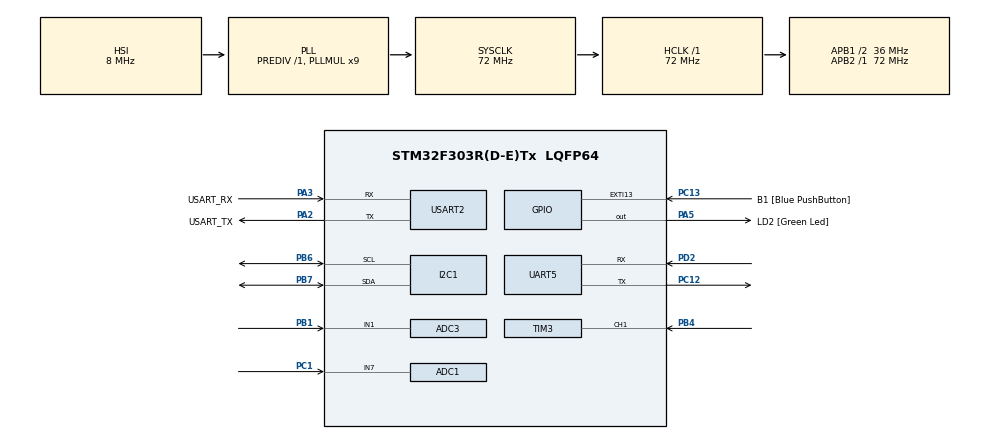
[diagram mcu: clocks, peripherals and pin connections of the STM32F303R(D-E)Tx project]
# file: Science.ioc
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ADC1.Channel-0\#ChannelRegularConversion=ADC_CHANNEL_7
ADC1.ContinuousConvMode=DISABLE
ADC1.DMAContinuousRequests=DISABLE
ADC1.NbrOfConversion=1
ADC1.NbrOfConversionFlag=1
ADC1.Offset-0\#ChannelRegularConversion=0
ADC1.OffsetNumber-0\#ChannelRegularConversion=ADC_OFFSET_NONE
ADC1.Rank-0\#ChannelRegularConversion=1
ADC1.SamplingTime-0\#ChannelRegularConversion=ADC_SAMPLETIME_1CYCLE_5
ADC1.SamplingTimeOPAMP-0\#ChannelRegularConversion=ADC_SAMPLETIME_61CYCLES_5
ADC1.master=1
ADC3.Channel-0\#ChannelRegularConversion=ADC_CHANNEL_1
ADC3.ContinuousConvMode=DISABLE
ADC3.NbrOfConversionFlag=1
ADC3.Offset-0\#ChannelRegularConversion=0
ADC3.OffsetNumber-0\#ChannelRegularConversion=ADC_OFFSET_NONE
ADC3.Rank-0\#ChannelRegularConversion=1
ADC3.SamplingTime-0\#ChannelRegularConversion=ADC_SAMPLETIME_1CYCLE_5
ADC3.SamplingTimeOPAMP-0\#ChannelRegularConversion=ADC_SAMPLETIME_61CYCLES_5
ADC3.master=1
I2C1.Timing=0x00201D2B
Mcu.Family=STM32F3
Mcu.Name=STM32F303R(D-E)Tx
Mcu.Package=LQFP64
NVIC.PriorityGroup=NVIC_PRIORITYGROUP_0
NVIC.TIM3_IRQn=true\:0\:0\:false\:false\:true\:true\:true\:true
PA13.GPIO_Label=TMS
PA13.Mode=Serial_Wire
PA13.Signal=SYS_JTMS-SWDIO
PA14.GPIO_Label=TCK
PA14.Mode=Serial_Wire
PA14.Signal=SYS_JTCK-SWCLK
PA2.GPIO_Label=USART_TX
PA2.GPIO_Mode=GPIO_MODE_AF_PP
PA2.GPIO_PuPd=GPIO_NOPULL
PA2.GPIO_Speed=GPIO_SPEED_FREQ_LOW
PA2.Mode=Asynchronous
PA2.Signal=USART2_TX
PA3.GPIO_Label=USART_RX
PA3.GPIO_Mode=GPIO_MODE_AF_PP
PA3.GPIO_PuPd=GPIO_NOPULL
PA3.GPIO_Speed=GPIO_SPEED_FREQ_LOW
PA3.Mode=Asynchronous
PA3.Signal=USART2_RX
PA5.GPIO_Label=LD2 [Green Led]
PA5.GPIO_Mode=GPIO_MODE_OUTPUT_PP
PA5.GPIO_PuPd=GPIO_NOPULL
PA5.GPIO_Speed=GPIO_SPEED_FREQ_LOW
PA5.Signal=GPIO_Output
PB1.Mode=IN1-Single-Ended
PB1.Signal=ADC3_IN1
PB3.GPIO_Label=SWO
PB3.Signal=SYS_JTDO-TRACESWO
PB4.Signal=S_TIM3_CH1
PB6.Mode=I2C
PB6.Signal=I2C1_SCL
PB7.Mode=I2C
PB7.Signal=I2C1_SDA
PC1.Signal=ADCx_IN7
PC12.Mode=Asynchronous
PC12.Signal=UART5_TX
PC13.GPIO_Label=B1 [Blue PushButton]
PC13.GPIO_ModeDefaultEXTI=GPIO_MODE_IT_FALLING
PC13.Signal=GPXTI13
PC14-OSC32_IN.Mode=LSE-External-Oscillator
PC14-OSC32_IN.Signal=RCC_OSC32_IN
PC15-OSC32_OUT.Mode=LSE-External-Oscillator
PC15-OSC32_OUT.Signal=RCC_OSC32_OUT
PD2.Mode=Asynchronous
PD2.Signal=UART5_RX
PF0-OSC_IN.Mode=HSE-External-Clock-Source
PF0-OSC_IN.Signal=RCC_OSC_IN
PF1-OSC_OUT.Signal=RCC_OSC_OUT
ProjectManager.HeapSize=0x200
ProjectManager.StackSize=0x400
ProjectManager.TargetToolchain=STM32CubeIDE
RCC.AHBFreq_Value=72000000
RCC.APB1CLKDivider=RCC_HCLK_DIV2
RCC.APB1Freq_Value=36000000
RCC.APB1TimFreq_Value=72000000
RCC.APB2Freq_Value=72000000
RCC.APB2TimFreq_Value=72000000
RCC.CortexFreq_Value=72000000
RCC.HCLKFreq_Value=72000000
RCC.HSE_VALUE=8000000
RCC.HSI_VALUE=8000000
RCC.PLLM=8
RCC.PLLMUL=RCC_PLL_MUL9
RCC.PLLN=336
RCC.PLLP=RCC_PLLP_DIV4
RCC.PLLQ=7
RCC.RCC_PLLsource_Clock_Source_FROM_HSE=RCC_HSE_PREDIV_DIV2
RCC.SYSCLKFreq_VALUE=72000000
RCC.SYSCLKSourceVirtual=RCC_SYSCLKSOURCE_PLLCLK
RCC.USBFreq_Value=72000000
SH.ADCx_IN7.0=ADC1_IN7,IN7-Single-Ended
SH.S_TIM3_CH1.0=TIM3_CH1,PWM_Input_1
TIM2.Prescaler=72-1
TIM3.Prescaler=1440-1
USART2.VirtualMode-Asynchronous=VM_ASYNC
VP_TIM2_VS_ClockSourceINT.Mode=Internal
VP_TIM3_VS_ClockSourceINT.Mode=Internal
board=NUCLEO-F303RE

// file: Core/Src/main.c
/* USER CODE BEGIN Header */
/**
  ******************************************************************************
  * @file           : main.c
  * @brief          : Main program body
  ******************************************************************************
  * @attention
  *
  * Copyright (c) 2025 STMicroelectronics.
  * All rights reserved.
  *
  * This software is licensed under terms that can be found in the LICENSE file
  * in the root directory of this software component.
  * If no LICENSE file comes with this software, it is provided AS-IS.
  *
  ******************************************************************************
  */
/* USER CODE END Header */
#include "main.h"

/* USER CODE BEGIN Includes */
#include <stdio.h>
#include <string.h>

#include "MQ135.h"			//NH3
#include "MQ4.h"			//CH4
#include "MICS-4514.h"		//NO2
#include "DTH11.h"			//Temp&Humidity
#include "BMP_180.h"		//Pressure
/* USER CODE END Includes */

/* USER CODE BEGIN PD */
#define TICK_MS		0.02	//TIM3: Duration of one tick in miliseconds. (50kHz)
/* USER CODE END PD */

ADC_HandleTypeDef hadc1;
ADC_HandleTypeDef hadc3;

I2C_HandleTypeDef hi2c1;

TIM_HandleTypeDef htim2;
TIM_HandleTypeDef htim3;

UART_HandleTypeDef huart5;
UART_HandleTypeDef huart2;

/* USER CODE BEGIN PV */
float NH3, NO2, CO2, CH4;

uint16_t period_tick, high_tick;												//CO2
float high_ms, period_ms;														//CO2

uint8_t presence, RhByteInt, RhByteDec, TempByteInt, TempByteDec, SumCheck;  //DHT
float DHT_temp;

//BMP_180
long press;
float temp;
extern long UT;
extern long UP;

char data_buff [128];
/* USER CODE END PV */

void SystemClock_Config(void);
static void MX_GPIO_Init(void);
static void MX_USART2_UART_Init(void);
static void MX_TIM2_Init(void);
static void MX_ADC3_Init(void);
static void MX_I2C1_Init(void);
static void MX_TIM3_Init(void);
static void MX_ADC1_Init(void);
static void MX_UART5_Init(void);

/* USER CODE BEGIN 0 */

//MHZ-19 Callback Function
void HAL_TIM_IC_CaptureCallback(TIM_HandleTypeDef *htim){
	if(htim->Channel==HAL_TIM_ACTIVE_CHANNEL_1)
	{
		period_tick = HAL_TIM_ReadCapturedValue(htim, TIM_CHANNEL_1);
		high_tick = HAL_TIM_ReadCapturedValue(htim, TIM_CHANNEL_2);
	}
	high_ms = high_tick * TICK_MS;
	period_ms = period_tick * TICK_MS;
	CO2 = 2000 * (high_ms - 2) / (period_ms - 4) + 240 ;
}

/* USER CODE END 0 */

int main(void)
{

  /* MCU Configuration--------------------------------------------------------*/

  /* Reset of all peripherals, Initializes the Flash interface and the Systick. */
  HAL_Init();

  /* Configure the system clock */
  SystemClock_Config();

  /* Initialize all configured peripherals */
  MX_GPIO_Init();
  MX_USART2_UART_Init();
  MX_TIM2_Init();
  MX_ADC3_Init();
  MX_I2C1_Init();
  MX_TIM3_Init();
  MX_ADC1_Init();
  MX_UART5_Init();
  /* USER CODE BEGIN 2 */

  //PWM input in interrupt mode
  HAL_TIM_IC_Start_IT(&htim3, TIM_CHANNEL_1); // Rising edge
  HAL_TIM_IC_Start_IT(&htim3, TIM_CHANNEL_2); // Falling edge

  /* USER CODE END 2 */

  /* Infinite loop */
  while (1)
  {

    /* USER CODE BEGIN 3 */
	  DHT11_Start();
	  presence = DHT11_Check_Response();

	  if (presence) {
		  RhByteInt   = DHT11_Read_Byte();			//Nem: tam kısım
		  RhByteDec   = DHT11_Read_Byte();			//Nem: ondalıklı kısım (sıfır geliyo)
		  TempByteInt = DHT11_Read_Byte();			//Sıcaklık: tam kısım
		  TempByteDec = DHT11_Read_Byte();			//Sıcaklık: ondalıklı kısım
		  SumCheck    = DHT11_Read_Byte();			//Önemsiz
	  }
	  DHT_temp 	   = TempByteInt +  TempByteDec / 10.0f;

	  NH3 = Read_NH3();
	  CH4 = Read_CH4();
	  NO2 = Read_NO2();

	  UT = get_ut();
	  UP = get_up();
	  temp = get_temp();
	  press= get_press() * 10;

	  snprintf(data_buff, sizeof(data_buff), "%f %f %f %f %f %u %ld",
		CO2, NH3, CH4, NO2, DHT_temp, RhByteInt, press);

	  HAL_UART_Transmit(&huart5, (uint8_t*)data_buff, strlen(data_buff), HAL_MAX_DELAY);

	  HAL_Delay(1500);

  }
  /* USER CODE END 3 */
}

void SystemClock_Config(void)
{
  RCC_OscInitTypeDef RCC_OscInitStruct = {0};
  RCC_ClkInitTypeDef RCC_ClkInitStruct = {0};
  RCC_PeriphCLKInitTypeDef PeriphClkInit = {0};

  /** Initializes the RCC Oscillators according to the specified parameters
  * in the RCC_OscInitTypeDef structure.
  */
  RCC_OscInitStruct.OscillatorType = RCC_OSCILLATORTYPE_HSI;
  RCC_OscInitStruct.HSIState = RCC_HSI_ON;
  RCC_OscInitStruct.HSICalibrationValue = RCC_HSICALIBRATION_DEFAULT;
  RCC_OscInitStruct.PLL.PLLState = RCC_PLL_ON;
  RCC_OscInitStruct.PLL.PLLSource = RCC_PLLSOURCE_HSI;
  RCC_OscInitStruct.PLL.PLLMUL = RCC_PLL_MUL9;
  RCC_OscInitStruct.PLL.PREDIV = RCC_PREDIV_DIV1;
  if (HAL_RCC_OscConfig(&RCC_OscInitStruct) != HAL_OK)
  {
    Error_Handler();
  }

  /** Initializes the CPU, AHB and APB buses clocks
  */
  RCC_ClkInitStruct.ClockType = RCC_CLOCKTYPE_HCLK|RCC_CLOCKTYPE_SYSCLK
                              |RCC_CLOCKTYPE_PCLK1|RCC_CLOCKTYPE_PCLK2;
  RCC_ClkInitStruct.SYSCLKSource = RCC_SYSCLKSOURCE_PLLCLK;
  RCC_ClkInitStruct.AHBCLKDivider = RCC_SYSCLK_DIV1;
  RCC_ClkInitStruct.APB1CLKDivider = RCC_HCLK_DIV2;
  RCC_ClkInitStruct.APB2CLKDivider = RCC_HCLK_DIV1;

  if (HAL_RCC_ClockConfig(&RCC_ClkInitStruct, FLASH_LATENCY_2) != HAL_OK)
  {
    Error_Handler();
  }
  PeriphClkInit.PeriphClockSelection = RCC_PERIPHCLK_USART2|RCC_PERIPHCLK_UART5
                              |RCC_PERIPHCLK_I2C1|RCC_PERIPHCLK_ADC12
                              |RCC_PERIPHCLK_ADC34|RCC_PERIPHCLK_TIM2
                              |RCC_PERIPHCLK_TIM34;
  PeriphClkInit.Usart2ClockSelection = RCC_USART2CLKSOURCE_PCLK1;
  PeriphClkInit.Uart5ClockSelection = RCC_UART5CLKSOURCE_PCLK1;
  PeriphClkInit.Adc12ClockSelection = RCC_ADC12PLLCLK_DIV1;
  PeriphClkInit.Adc34ClockSelection = RCC_ADC34PLLCLK_DIV1;
  PeriphClkInit.I2c1ClockSelection = RCC_I2C1CLKSOURCE_HSI;
  PeriphClkInit.Tim2ClockSelection = RCC_TIM2CLK_HCLK;
  PeriphClkInit.Tim34ClockSelection = RCC_TIM34CLK_HCLK;
  if (HAL_RCCEx_PeriphCLKConfig(&PeriphClkInit) != HAL_OK)
  {
    Error_Handler();
  }
}

static void MX_ADC1_Init(void)
{

  ADC_MultiModeTypeDef multimode = {0};
  ADC_ChannelConfTypeDef sConfig = {0};

  /** Common config
  */
  hadc1.Instance = ADC1;
  hadc1.Init.ClockPrescaler = ADC_CLOCK_ASYNC_DIV1;
  hadc1.Init.Resolution = ADC_RESOLUTION_12B;
  hadc1.Init.ScanConvMode = ADC_SCAN_DISABLE;
  hadc1.Init.ContinuousConvMode = DISABLE;
  hadc1.Init.DiscontinuousConvMode = DISABLE;
  hadc1.Init.ExternalTrigConvEdge = ADC_EXTERNALTRIGCONVEDGE_NONE;
  hadc1.Init.ExternalTrigConv = ADC_SOFTWARE_START;
  hadc1.Init.DataAlign = ADC_DATAALIGN_RIGHT;
  hadc1.Init.NbrOfConversion = 1;
  hadc1.Init.DMAContinuousRequests = DISABLE;
  hadc1.Init.EOCSelection = ADC_EOC_SINGLE_CONV;
  hadc1.Init.LowPowerAutoWait = DISABLE;
  hadc1.Init.Overrun = ADC_OVR_DATA_OVERWRITTEN;
  if (HAL_ADC_Init(&hadc1) != HAL_OK)
  {
    Error_Handler();
  }

  /** Configure the ADC multi-mode
  */
  multimode.Mode = ADC_MODE_INDEPENDENT;
  if (HAL_ADCEx_MultiModeConfigChannel(&hadc1, &multimode) != HAL_OK)
  {
    Error_Handler();
  }

  /** Configure Regular Channel
  */
  sConfig.Channel = ADC_CHANNEL_7;
  sConfig.Rank = ADC_REGULAR_RANK_1;
  sConfig.SingleDiff = ADC_SINGLE_ENDED;
  sConfig.SamplingTime = ADC_SAMPLETIME_1CYCLE_5;
  sConfig.OffsetNumber = ADC_OFFSET_NONE;
  sConfig.Offset = 0;
  if (HAL_ADC_ConfigChannel(&hadc1, &sConfig) != HAL_OK)
  {
    Error_Handler();
  }

}

static void MX_ADC3_Init(void)
{

  ADC_MultiModeTypeDef multimode = {0};
  ADC_ChannelConfTypeDef sConfig = {0};

  /** Common config
  */
  hadc3.Instance = ADC3;
  hadc3.Init.ClockPrescaler = ADC_CLOCK_ASYNC_DIV1;
  hadc3.Init.Resolution = ADC_RESOLUTION_12B;
  hadc3.Init.ScanConvMode = ADC_SCAN_DISABLE;
  hadc3.Init.ContinuousConvMode = DISABLE;
  hadc3.Init.DiscontinuousConvMode = DISABLE;
  hadc3.Init.ExternalTrigConvEdge = ADC_EXTERNALTRIGCONVEDGE_NONE;
  hadc3.Init.ExternalTrigConv = ADC_SOFTWARE_START;
  hadc3.Init.DataAlign = ADC_DATAALIGN_RIGHT;
  hadc3.Init.NbrOfConversion = 1;
  hadc3.Init.DMAContinuousRequests = DISABLE;
  hadc3.Init.EOCSelection = ADC_EOC_SINGLE_CONV;
  hadc3.Init.LowPowerAutoWait = DISABLE;
  hadc3.Init.Overrun = ADC_OVR_DATA_OVERWRITTEN;
  if (HAL_ADC_Init(&hadc3) != HAL_OK)
  {
    Error_Handler();
  }

  /** Configure the ADC multi-mode
  */
  multimode.Mode = ADC_MODE_INDEPENDENT;
  if (HAL_ADCEx_MultiModeConfigChannel(&hadc3, &multimode) != HAL_OK)
  {
    Error_Handler();
  }

  /** Configure Regular Channel
  */
  sConfig.Channel = ADC_CHANNEL_1;
  sConfig.Rank = ADC_REGULAR_RANK_1;
  sConfig.SingleDiff = ADC_SINGLE_ENDED;
  sConfig.SamplingTime = ADC_SAMPLETIME_1CYCLE_5;
  sConfig.OffsetNumber = ADC_OFFSET_NONE;
  sConfig.Offset = 0;
  if (HAL_ADC_ConfigChannel(&hadc3, &sConfig) != HAL_OK)
  {
    Error_Handler();
  }

}

static void MX_I2C1_Init(void)
{

  hi2c1.Instance = I2C1;
  hi2c1.Init.Timing = 0x00201D2B;
  hi2c1.Init.OwnAddress1 = 0;
  hi2c1.Init.AddressingMode = I2C_ADDRESSINGMODE_7BIT;
  hi2c1.Init.DualAddressMode = I2C_DUALADDRESS_DISABLE;
  hi2c1.Init.OwnAddress2 = 0;
  hi2c1.Init.OwnAddress2Masks = I2C_OA2_NOMASK;
  hi2c1.Init.GeneralCallMode = I2C_GENERALCALL_DISABLE;
  hi2c1.Init.NoStretchMode = I2C_NOSTRETCH_DISABLE;
  if (HAL_I2C_Init(&hi2c1) != HAL_OK)
  {
    Error_Handler();
  }

  /** Configure Analogue filter
  */
  if (HAL_I2CEx_ConfigAnalogFilter(&hi2c1, I2C_ANALOGFILTER_ENABLE) != HAL_OK)
  {
    Error_Handler();
  }

  /** Configure Digital filter
  */
  if (HAL_I2CEx_ConfigDigitalFilter(&hi2c1, 0) != HAL_OK)
  {
    Error_Handler();
  }

}

static void MX_TIM2_Init(void)
{

  TIM_ClockConfigTypeDef sClockSourceConfig = {0};
  TIM_MasterConfigTypeDef sMasterConfig = {0};

  htim2.Instance = TIM2;
  htim2.Init.Prescaler = 72-1;
  htim2.Init.CounterMode = TIM_COUNTERMODE_UP;
  htim2.Init.Period = 4294967295;
  htim2.Init.ClockDivision = TIM_CLOCKDIVISION_DIV1;
  htim2.Init.AutoReloadPreload = TIM_AUTORELOAD_PRELOAD_DISABLE;
  if (HAL_TIM_Base_Init(&htim2) != HAL_OK)
  {
    Error_Handler();
  }
  sClockSourceConfig.ClockSource = TIM_CLOCKSOURCE_INTERNAL;
  if (HAL_TIM_ConfigClockSource(&htim2, &sClockSourceConfig) != HAL_OK)
  {
    Error_Handler();
  }
  sMasterConfig.MasterOutputTrigger = TIM_TRGO_RESET;
  sMasterConfig.MasterSlaveMode = TIM_MASTERSLAVEMODE_DISABLE;
  if (HAL_TIMEx_MasterConfigSynchronization(&htim2, &sMasterConfig) != HAL_OK)
  {
    Error_Handler();
  }

}

static void MX_TIM3_Init(void)
{

  TIM_ClockConfigTypeDef sClockSourceConfig = {0};
  TIM_SlaveConfigTypeDef sSlaveConfig = {0};
  TIM_IC_InitTypeDef sConfigIC = {0};
  TIM_MasterConfigTypeDef sMasterConfig = {0};

  htim3.Instance = TIM3;
  htim3.Init.Prescaler = 1440-1;
  htim3.Init.CounterMode = TIM_COUNTERMODE_UP;
  htim3.Init.Period = 65535;
  htim3.Init.ClockDivision = TIM_CLOCKDIVISION_DIV1;
  htim3.Init.AutoReloadPreload = TIM_AUTORELOAD_PRELOAD_DISABLE;
  if (HAL_TIM_Base_Init(&htim3) != HAL_OK)
  {
    Error_Handler();
  }
  sClockSourceConfig.ClockSource = TIM_CLOCKSOURCE_INTERNAL;
  if (HAL_TIM_ConfigClockSource(&htim3, &sClockSourceConfig) != HAL_OK)
  {
    Error_Handler();
  }
  if (HAL_TIM_IC_Init(&htim3) != HAL_OK)
  {
    Error_Handler();
  }
  sSlaveConfig.SlaveMode = TIM_SLAVEMODE_RESET;
  sSlaveConfig.InputTrigger = TIM_TS_TI1FP1;
  sSlaveConfig.TriggerPolarity = TIM_INPUTCHANNELPOLARITY_RISING;
  sSlaveConfig.TriggerPrescaler = TIM_ICPSC_DIV1;
  sSlaveConfig.TriggerFilter = 0;
  if (HAL_TIM_SlaveConfigSynchro(&htim3, &sSlaveConfig) != HAL_OK)
  {
    Error_Handler();
  }
  sConfigIC.ICPolarity = TIM_INPUTCHANNELPOLARITY_RISING;
  sConfigIC.ICSelection = TIM_ICSELECTION_DIRECTTI;
  sConfigIC.ICPrescaler = TIM_ICPSC_DIV1;
  sConfigIC.ICFilter = 0;
  if (HAL_TIM_IC_ConfigChannel(&htim3, &sConfigIC, TIM_CHANNEL_1) != HAL_OK)
  {
    Error_Handler();
  }
  sConfigIC.ICPolarity = TIM_INPUTCHANNELPOLARITY_FALLING;
  sConfigIC.ICSelection = TIM_ICSELECTION_INDIRECTTI;
  if (HAL_TIM_IC_ConfigChannel(&htim3, &sConfigIC, TIM_CHANNEL_2) != HAL_OK)
  {
    Error_Handler();
  }
  sMasterConfig.MasterOutputTrigger = TIM_TRGO_RESET;
  sMasterConfig.MasterSlaveMode = TIM_MASTERSLAVEMODE_DISABLE;
  if (HAL_TIMEx_MasterConfigSynchronization(&htim3, &sMasterConfig) != HAL_OK)
  {
    Error_Handler();
  }

}

static void MX_UART5_Init(void)
{

  huart5.Instance = UART5;
  huart5.Init.BaudRate = 115200;
  huart5.Init.WordLength = UART_WORDLENGTH_8B;
  huart5.Init.StopBits = UART_STOPBITS_1;
  huart5.Init.Parity = UART_PARITY_NONE;
  huart5.Init.Mode = UART_MODE_TX_RX;
  huart5.Init.HwFlowCtl = UART_HWCONTROL_NONE;
  huart5.Init.OverSampling = UART_OVERSAMPLING_16;
  huart5.Init.OneBitSampling = UART_ONE_BIT_SAMPLE_DISABLE;
  huart5.AdvancedInit.AdvFeatureInit = UART_ADVFEATURE_NO_INIT;
  if (HAL_UART_Init(&huart5) != HAL_OK)
  {
    Error_Handler();
  }

}

static void MX_USART2_UART_Init(void)
{

  huart2.Instance = USART2;
  huart2.Init.BaudRate = 38400;
  huart2.Init.WordLength = UART_WORDLENGTH_8B;
  huart2.Init.StopBits = UART_STOPBITS_1;
  huart2.Init.Parity = UART_PARITY_NONE;
  huart2.Init.Mode = UART_MODE_TX_RX;
  huart2.Init.HwFlowCtl = UART_HWCONTROL_NONE;
  huart2.Init.OverSampling = UART_OVERSAMPLING_16;
  huart2.Init.OneBitSampling = UART_ONE_BIT_SAMPLE_DISABLE;
  huart2.AdvancedInit.AdvFeatureInit = UART_ADVFEATURE_NO_INIT;
  if (HAL_UART_Init(&huart2) != HAL_OK)
  {
    Error_Handler();
  }

}

static void MX_GPIO_Init(void)
{
  GPIO_InitTypeDef GPIO_InitStruct = {0};

  /* GPIO Ports Clock Enable */
  __HAL_RCC_GPIOC_CLK_ENABLE();
  __HAL_RCC_GPIOF_CLK_ENABLE();
  __HAL_RCC_GPIOA_CLK_ENABLE();
  __HAL_RCC_GPIOB_CLK_ENABLE();
  __HAL_RCC_GPIOD_CLK_ENABLE();

  /*Configure GPIO pin Output Level */
  HAL_GPIO_WritePin(LD2_GPIO_Port, LD2_Pin, GPIO_PIN_RESET);

  /*Configure GPIO pin : B1_Pin */
  GPIO_InitStruct.Pin = B1_Pin;
  GPIO_InitStruct.Mode = GPIO_MODE_IT_FALLING;
  GPIO_InitStruct.Pull = GPIO_NOPULL;
  HAL_GPIO_Init(B1_GPIO_Port, &GPIO_InitStruct);

  /*Configure GPIO pin : LD2_Pin */
  GPIO_InitStruct.Pin = LD2_Pin;
  GPIO_InitStruct.Mode = GPIO_MODE_OUTPUT_PP;
  GPIO_InitStruct.Pull = GPIO_NOPULL;
  GPIO_InitStruct.Speed = GPIO_SPEED_FREQ_LOW;
  HAL_GPIO_Init(LD2_GPIO_Port, &GPIO_InitStruct);

}

void Error_Handler(void)
{
  __disable_irq();
  while (1)
  {
  }
}
